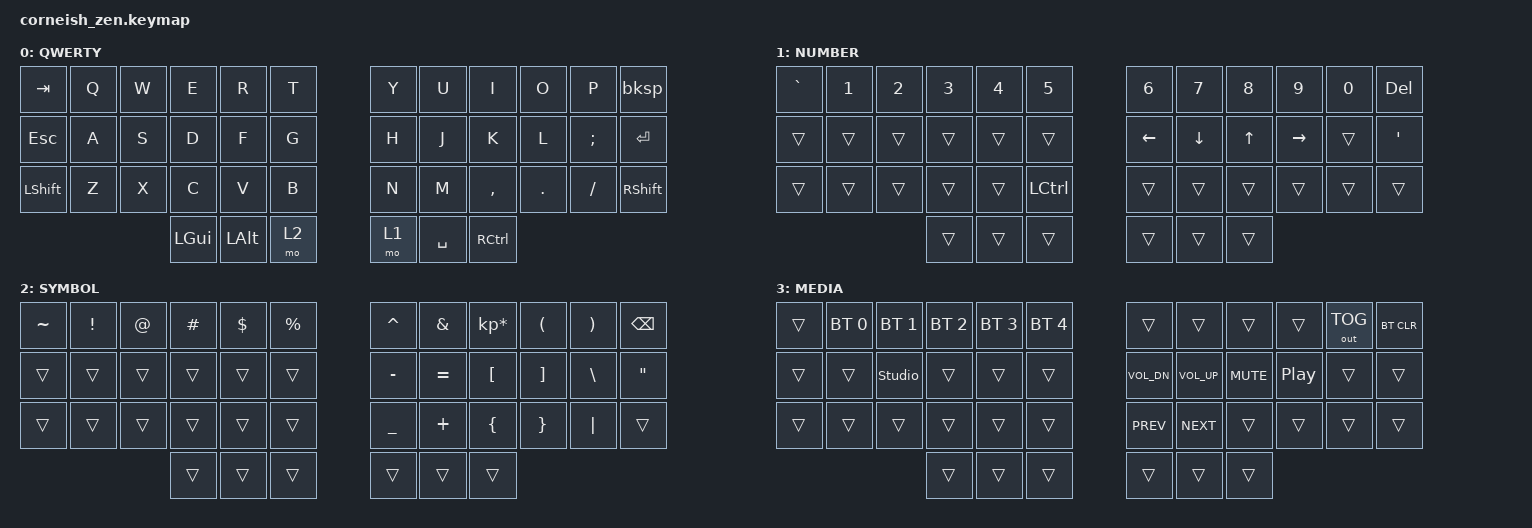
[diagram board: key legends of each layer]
#include <behaviors.dtsi>
#include <dt-bindings/zmk/keys.h>
#include <dt-bindings/zmk/bt.h>
#include <dt-bindings/zmk/outputs.h>

/ {
    chosen {
        zmk,physical-layout = &foostan_corne_6col_layout;
        // zmk,physical-layout = &foostan_corne_5col_layout;
    };
};

/ {
    macros {
        btchold: bt_clear_hold {
            label = "CLEAR_BT_CONNECTION";
            compatible = "zmk,behavior-macro";
            #binding-cells = <0>;
            bindings = <&bt BT_CLR>;
        };
    };
};

/ {
  behaviors {
    bksp: custom_backspace {
      compatible = "zmk,behavior-mod-morph";
      label = "CUSTOM_BACKSPACE";
      #binding-cells = <0>;
      bindings = <&kp RA(BSPC)>, <&kp LG(BSPC)>;
      mods = <(MOD_LGUI)>;
    };
  };
};

/ {
    conditional_layers {
        compatible = "zmk,conditional-layers";
        tri_layer {
            if-layers = <1 2>;
            then-layer = <3>;
        };
    };
};

/ {
    keymap {
        compatible = "zmk,keymap";
        default_layer {
            display-name = "QWERTY";
//                               --------------------------------------------------------------
//                              |  TAB | Q | W | E | R | T |       | Y | U | I | O | P | BSP  |
//                              |  ESC | A | S | D | F | G |       | H | J | K | L | ; | ENTER |
//                              | SHFT | Z | X | C | V | B |       | N | M | , | . | / | SHFT  |
//                              ----------------------------       ----------------------------
//                                            |GUI|LALT|RSE|       |LWR|SPACE|CTRL|
//                                            --------------       ----------------
                bindings = <
   &kp TAB    &kp Q  &kp W  &kp E     &kp R      &kp T       &kp Y   &kp U     &kp I      &kp O     &kp P      &bksp
   &kp ESC    &kp A  &kp S  &kp D     &kp F      &kp G       &kp H   &kp J     &kp K      &kp L     &kp SEMI   &kp RET
   &kp LSHFT  &kp Z  &kp X  &kp C     &kp V      &kp B       &kp N   &kp M     &kp COMMA  &kp DOT   &kp FSLH   &kp RSHIFT
                            &kp LGUI  &kp LALT   &mo 2       &mo 1   &kp SPACE &kp RCTRL 
                >;
        };

        lower_layer {
            display-name = "NUMBER";
//                               -------------------------------         ----------------------------------
//                              |   `   | 1 | 2 | 3 | 4 |   5   |       |  6  |  7  | 8   |  9  | 0 |  DEL |
//                              |  ESC  |   |   |   |   |       |       | LFT | DWN | UP  | RGT |   |   '  |
//                              |  SHFT |   |   |   |   | LCTRL |       |     |     |     |     |   | SHFT |
//                               -------------------------------         ----------------------------------
//                                          | GUI |     | MEDIA |       | ENT |     | ALT | 
//                                           -------------------         -----------------
                        bindings = <
   &kp GRAVE  &kp N1  &kp N2  &kp N3   &kp N4   &kp N5      &kp N6    &kp N7    &kp N8    &kp N9     &kp N0  &kp DEL
   &trans  &trans  &trans  &trans   &trans   &trans         &kp LEFT  &kp DOWN  &kp UP    &kp RIGHT  &trans  &kp SQT
   &trans  &trans  &trans  &trans   &trans   &kp LCTRL      &trans    &trans    &trans    &trans     &trans  &trans
                           &trans   &trans   &trans         &trans    &trans    &trans
                        >;
                };

        raise_layer {
            display-name = "SYMBOL";
//                              -----------------------------          ----------------------------
//                              |    ~   | ! | @ | # | $ | % |        | ^ | & | * | ( |  )  | BKSP |
//                              |   ESC  |   |   |   |   |   |        | - | = | [ | ] |  \  |  "   |
//                              |  SHFT  |   |   |   |   |   |        | _ | + | { | } | "|" | SHFT |
//                              -----------------------------          ----------------------------
//                                               |GUI|   |SPC|        |MEDIA|   |ALT|
//                                                ------------         -----------

                bindings = <
     &kp TILDE   &kp EXCL &kp AT &kp HASH &kp DLLR &kp PRCNT    &kp CARET  &kp AMPS  &kp KP_MULTIPLY  &kp LPAR &kp RPAR &kp BSPC
     &trans   &trans   &trans &trans   &trans   &trans          &kp MINUS  &kp EQUAL &kp LBKT         &kp RBKT &kp BSLH &kp DQT
     &trans   &trans   &trans &trans   &trans   &trans          &kp UNDER  &kp PLUS  &kp LBRC         &kp RBRC &kp PIPE &trans
                              &trans   &trans   &trans          &trans     &trans    &trans
                >;
        };

    config_layer {
        display-name = "MEDIA";
//                              ----------------------------------------                  ----------------------------------------------
//                              |         | BT1 | BT2 | BT3 | BT4 | BT5 |                |    | STUDIO  |    |   | BT/USB toggle | BT_CLEAR |
//                              |  CTRL   |     |     |     |     |     |                | 🔕 | 🔉 | 🔊 | ⏯ |  |   |
//                              |  SHFT   |     |     |     |     |     |                | ⏮ | ⏭ |    |   |  |   |
//                              ----------------------------------------                  -----------------------
//                                                    |GUI  |     | SPC |                |   |   |   |
//                                                     -----------------                  -----------
            bindings = <
   &trans   &bt BT_SEL 0  &bt BT_SEL 1    &bt BT_SEL 2  &bt BT_SEL 3  &bt BT_SEL 4     &trans          &trans          &trans          &trans       &out OUT_TOG     &bt BT_CLR
   &trans   &trans        &studio_unlock  &trans        &trans        &trans           &kp C_VOL_DN    &kp C_VOL_UP    &kp C_MUTE      &kp C_PP     &trans           &trans
   &trans   &trans        &trans          &trans        &trans        &trans           &kp C_PREV      &kp C_NEXT      &trans          &trans       &trans           &trans
                                          &trans        &trans        &trans           &trans          &trans          &trans
            >; 
        };
    };
};
